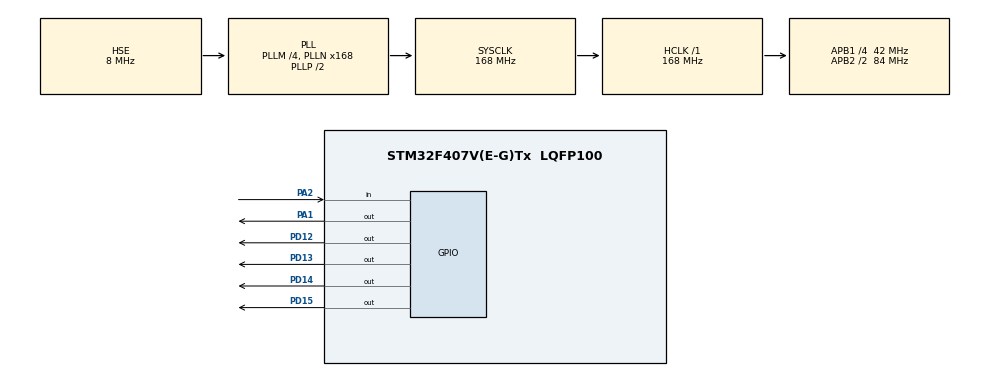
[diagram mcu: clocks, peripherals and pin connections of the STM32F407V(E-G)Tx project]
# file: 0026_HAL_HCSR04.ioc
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Mcu.Family=STM32F4
Mcu.Name=STM32F407V(E-G)Tx
Mcu.Package=LQFP100
NVIC.PriorityGroup=NVIC_PRIORITYGROUP_4
PA1.Signal=GPIO_Output
PA2.Signal=GPIO_Input
PD12.Signal=GPIO_Output
PD13.Signal=GPIO_Output
PD14.Signal=GPIO_Output
PD15.Signal=GPIO_Output
PH0-OSC_IN.Mode=HSE-External-Oscillator
PH0-OSC_IN.Signal=RCC_OSC_IN
PH1-OSC_OUT.Mode=HSE-External-Oscillator
PH1-OSC_OUT.Signal=RCC_OSC_OUT
ProjectManager.HeapSize=0x200
ProjectManager.StackSize=0x400
ProjectManager.TargetToolchain=TrueSTUDIO
RCC.48MHZClocksFreq_Value=84000000
RCC.AHBFreq_Value=168000000
RCC.APB1CLKDivider=RCC_HCLK_DIV4
RCC.APB1Freq_Value=42000000
RCC.APB1TimFreq_Value=84000000
RCC.APB2CLKDivider=RCC_HCLK_DIV2
RCC.APB2Freq_Value=84000000
RCC.APB2TimFreq_Value=168000000
RCC.CortexFreq_Value=168000000
RCC.HCLKFreq_Value=168000000
RCC.HSE_VALUE=8000000
RCC.HSI_VALUE=16000000
RCC.LSE_VALUE=32768
RCC.PLLM=4
RCC.PLLN=168
RCC.PLLSourceVirtual=RCC_PLLSOURCE_HSE
RCC.SYSCLKFreq_VALUE=168000000
RCC.SYSCLKSource=RCC_SYSCLKSOURCE_PLLCLK
RCC.VCOOutputFreq_Value=336000000
board=custom

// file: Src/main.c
/* USER CODE BEGIN Header */
/**
  ******************************************************************************
  * @file           : main.c
  * @brief          : Main program body
  ******************************************************************************
  * @attention
  *
  * <h2><center>&copy; Copyright (c) 2019 STMicroelectronics.
  * All rights reserved.</center></h2>
  *
  * This software component is licensed by ST under BSD 3-Clause license,
  * the "License"; You may not use this file except in compliance with the
  * License. You may obtain a copy of the License at:
  *                        opensource.org/licenses/BSD-3-Clause
  *
  ******************************************************************************
  */
/* USER CODE END Header */

#include "main.h"

/* USER CODE BEGIN Includes */
#include "dwt_stm32_delay.h"
/* USER CODE END Includes */

void SystemClock_Config(void);
static void MX_GPIO_Init(void);

/* USER CODE BEGIN 0 */

uint32_t sensor_time;
uint16_t distance;

uint32_t Read_HCSR04()
{
	uint32_t local_time = 0;

	HAL_GPIO_WritePin(GPIOA, GPIO_PIN_1, GPIO_PIN_SET);		// pull the trig pin high
	DWT_Delay_us(10);										// wait for 10 us
	HAL_GPIO_WritePin(GPIOA, GPIO_PIN_1, GPIO_PIN_RESET);	// pull the trig pin low

	// wait for the echo pin to go high

	while(!(HAL_GPIO_ReadPin(GPIOA, GPIO_PIN_2)));

	while(HAL_GPIO_ReadPin(GPIOA, GPIO_PIN_2))				// while the pin is high
	{
		local_time++;										// increment local time
		DWT_Delay_us(1);									// every 1 us
	}

	return local_time * 2;
}

/* USER CODE END 0 */

int main(void)
{

  /* MCU Configuration--------------------------------------------------------*/

  /* Reset of all peripherals, Initializes the Flash interface and the Systick. */
  HAL_Init();

  /* Configure the system clock */
  SystemClock_Config();

  /* Initialize all configured peripherals */
  MX_GPIO_Init();
  /* USER CODE BEGIN 2 */
  DWT_Delay_Init();
  /* USER CODE END 2 */

  /* Infinite loop */
  while (1)
  {

    /* USER CODE BEGIN 3 */

	  sensor_time = Read_HCSR04();			// get the high time
	  distance = sensor_time * .034 / 2;	// user the formula to get the distance

	  if(distance <= 4)
		  HAL_GPIO_WritePin(GPIOD, GPIO_PIN_All, GPIO_PIN_SET);
	  else if(distance > 4 && distance <= 6)
	  {
		  HAL_GPIO_WritePin(GPIOD, GPIO_PIN_12 | GPIO_PIN_13 | GPIO_PIN_14, GPIO_PIN_SET);
		  HAL_GPIO_WritePin(GPIOD, GPIO_PIN_15, GPIO_PIN_RESET);
	  }
	  else if(distance > 6 && distance <= 8)
	  {
		  HAL_GPIO_WritePin(GPIOD, GPIO_PIN_12 | GPIO_PIN_13, GPIO_PIN_SET);
		  HAL_GPIO_WritePin(GPIOD, GPIO_PIN_14 | GPIO_PIN_15, GPIO_PIN_RESET);
	  }
	  else if(distance > 8 && distance <= 10)
	  {
		  HAL_GPIO_WritePin(GPIOD, GPIO_PIN_12, GPIO_PIN_SET);
		  HAL_GPIO_WritePin(GPIOD, GPIO_PIN_13 | GPIO_PIN_14 | GPIO_PIN_15, GPIO_PIN_RESET);
	  }
	  else
	  {
		  HAL_GPIO_WritePin(GPIOD, GPIO_PIN_All, GPIO_PIN_RESET);
	  }
  }
  /* USER CODE END 3 */
}

void SystemClock_Config(void)
{
  RCC_OscInitTypeDef RCC_OscInitStruct = {0};
  RCC_ClkInitTypeDef RCC_ClkInitStruct = {0};

  /** Configure the main internal regulator output voltage
  */
  __HAL_RCC_PWR_CLK_ENABLE();
  __HAL_PWR_VOLTAGESCALING_CONFIG(PWR_REGULATOR_VOLTAGE_SCALE1);
  /** Initializes the CPU, AHB and APB busses clocks
  */
  RCC_OscInitStruct.OscillatorType = RCC_OSCILLATORTYPE_HSE;
  RCC_OscInitStruct.HSEState = RCC_HSE_ON;
  RCC_OscInitStruct.PLL.PLLState = RCC_PLL_ON;
  RCC_OscInitStruct.PLL.PLLSource = RCC_PLLSOURCE_HSE;
  RCC_OscInitStruct.PLL.PLLM = 4;
  RCC_OscInitStruct.PLL.PLLN = 168;
  RCC_OscInitStruct.PLL.PLLP = RCC_PLLP_DIV2;
  RCC_OscInitStruct.PLL.PLLQ = 4;
  if (HAL_RCC_OscConfig(&RCC_OscInitStruct) != HAL_OK)
  {
    Error_Handler();
  }
  /** Initializes the CPU, AHB and APB busses clocks
  */
  RCC_ClkInitStruct.ClockType = RCC_CLOCKTYPE_HCLK|RCC_CLOCKTYPE_SYSCLK
                              |RCC_CLOCKTYPE_PCLK1|RCC_CLOCKTYPE_PCLK2;
  RCC_ClkInitStruct.SYSCLKSource = RCC_SYSCLKSOURCE_PLLCLK;
  RCC_ClkInitStruct.AHBCLKDivider = RCC_SYSCLK_DIV1;
  RCC_ClkInitStruct.APB1CLKDivider = RCC_HCLK_DIV4;
  RCC_ClkInitStruct.APB2CLKDivider = RCC_HCLK_DIV2;

  if (HAL_RCC_ClockConfig(&RCC_ClkInitStruct, FLASH_LATENCY_5) != HAL_OK)
  {
    Error_Handler();
  }
}

static void MX_GPIO_Init(void)
{
  GPIO_InitTypeDef GPIO_InitStruct = {0};

  /* GPIO Ports Clock Enable */
  __HAL_RCC_GPIOH_CLK_ENABLE();
  __HAL_RCC_GPIOA_CLK_ENABLE();
  __HAL_RCC_GPIOD_CLK_ENABLE();

  /*Configure GPIO pin Output Level */
  HAL_GPIO_WritePin(GPIOA, GPIO_PIN_1, GPIO_PIN_RESET);

  /*Configure GPIO pin Output Level */
  HAL_GPIO_WritePin(GPIOD, GPIO_PIN_12|GPIO_PIN_13|GPIO_PIN_14|GPIO_PIN_15, GPIO_PIN_RESET);

  /*Configure GPIO pin : PA1 */
  GPIO_InitStruct.Pin = GPIO_PIN_1;
  GPIO_InitStruct.Mode = GPIO_MODE_OUTPUT_PP;
  GPIO_InitStruct.Pull = GPIO_NOPULL;
  GPIO_InitStruct.Speed = GPIO_SPEED_FREQ_LOW;
  HAL_GPIO_Init(GPIOA, &GPIO_InitStruct);

  /*Configure GPIO pin : PA2 */
  GPIO_InitStruct.Pin = GPIO_PIN_2;
  GPIO_InitStruct.Mode = GPIO_MODE_INPUT;
  GPIO_InitStruct.Pull = GPIO_NOPULL;
  HAL_GPIO_Init(GPIOA, &GPIO_InitStruct);

  /*Configure GPIO pins : PD12 PD13 PD14 PD15 */
  GPIO_InitStruct.Pin = GPIO_PIN_12|GPIO_PIN_13|GPIO_PIN_14|GPIO_PIN_15;
  GPIO_InitStruct.Mode = GPIO_MODE_OUTPUT_PP;
  GPIO_InitStruct.Pull = GPIO_NOPULL;
  GPIO_InitStruct.Speed = GPIO_SPEED_FREQ_LOW;
  HAL_GPIO_Init(GPIOD, &GPIO_InitStruct);

}

void Error_Handler(void)
{
}

/************************ (C) COPYRIGHT STMicroelectronics *****END OF FILE****/
